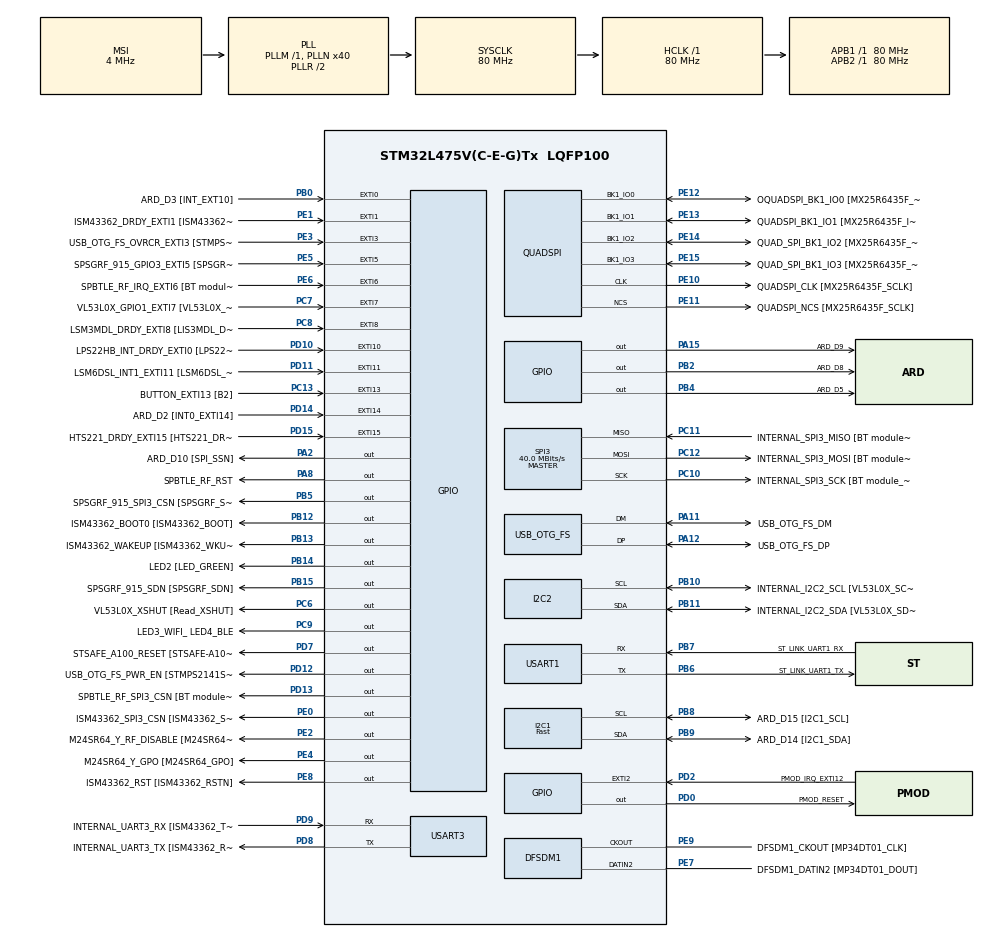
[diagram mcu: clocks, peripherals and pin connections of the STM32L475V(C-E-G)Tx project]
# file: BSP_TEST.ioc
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I2C1.I2C_Speed_Mode=I2C_Fast
I2C1.Timing=0x00702991
I2C2.Timing=0x10909CEC
Mcu.Family=STM32L4
Mcu.Name=STM32L475V(C-E-G)Tx
Mcu.Package=LQFP100
NVIC.EXTI15_10_IRQn=true\:0\:0\:false\:false\:true\:true\:true\:true
NVIC.EXTI1_IRQn=true\:0\:0\:false\:false\:true\:true\:true\:true
NVIC.EXTI9_5_IRQn=true\:0\:0\:false\:false\:true\:true\:true\:true
NVIC.PriorityGroup=NVIC_PRIORITYGROUP_4
PA0.GPIO_Label=ARD_D1 [UART4_TX]
PA0.Signal=UART4_TX
PA1.GPIO_Label=ARD_D0 [UART4_RX]
PA1.Signal=UART4_RX
PA10.GPIO_Label=USB_OTG_FS_ID
PA10.Signal=USB_OTG_FS_ID
PA11.GPIO_Label=USB_OTG_FS_DM
PA11.Mode=Device_Only
PA11.Signal=USB_OTG_FS_DM
PA12.GPIO_Label=USB_OTG_FS_DP
PA12.Mode=Device_Only
PA12.Signal=USB_OTG_FS_DP
PA13\ (JTMS-SWDIO).GPIO_Label=SYS_JTMS_SWDIO
PA13\ (JTMS-SWDIO).Mode=Serial_Wire
PA13\ (JTMS-SWDIO).Signal=SYS_JTMS-SWDIO
PA14\ (JTCK-SWCLK).GPIO_Label=SYS_JTCK_SWCLK
PA14\ (JTCK-SWCLK).Mode=Serial_Wire
PA14\ (JTCK-SWCLK).Signal=SYS_JTCK-SWCLK
PA15\ (JTDI).GPIO_Label=ARD_D9
PA15\ (JTDI).Signal=GPIO_Output
PA2.GPIO_Label=ARD_D10 [SPI_SSN]
PA2.Signal=GPIO_Output
PA3.GPIO_Label=ARD_D4
PA3.Signal=S_TIM2_CH4
PA4.GPIO_Label=ARD_D7
PA4.Signal=ADCx_IN9
PA5.GPIO_Label=ARD_D13 [SPI1_SCK]
PA5.Signal=SPI1_SCK
PA6.GPIO_Label=ARD_D12 [SPI1_MISO]
PA6.Signal=SPI1_MISO
PA7.GPIO_Label=ARD_D11 [SPI1_MOSI]
PA7.Signal=SPI1_MOSI
PA8.GPIO_Label=SPBTLE_RF_RST
PA8.Signal=GPIO_Output
PA9.GPIO_Label=USB_OTG_FS_VBUS [STMPS2141STR_OUT]
PA9.Signal=USB_OTG_FS_VBUS
PB0.GPIO_Label=ARD_D3 [INT_EXT10]
PB0.Signal=GPXTI0
PB1.GPIO_Label=ARD_D6 [ADC1_IN6]
PB1.Signal=ADCx_IN16
PB10.GPIO_Label=INTERNAL_I2C2_SCL [VL53L0X_SCL]
PB10.GPIO_Pu=GPIO_PULLUP
PB10.Mode=I2C
PB10.Signal=I2C2_SCL
PB11.GPIO_Label=INTERNAL_I2C2_SDA [VL53L0X_SDA]
PB11.GPIO_Pu=GPIO_PULLUP
PB11.Mode=I2C
PB11.Signal=I2C2_SDA
PB12.GPIO_Label=ISM43362_BOOT0 [ISM43362_BOOT]
PB12.Signal=GPIO_Output
PB13.GPIO_Label=ISM43362_WAKEUP [ISM43362_WKUP]
PB13.Signal=GPIO_Output
PB14.GPIO_Label=LED2 [LED_GREEN]
PB14.Signal=GPIO_Output
PB15.GPIO_Label=SPSGRF_915_SDN [SPSGRF_SDN]
PB15.Signal=GPIO_Output
PB2.GPIO_Label=ARD_D8
PB2.Signal=GPIO_Output
PB3\ (JTDO-TRACESWO).GPIO_Label=SYS_JTD0_SWO
PB3\ (JTDO-TRACESWO).Signal=SYS_JTDO-SWO
PB4\ (NJTRST).GPIO_Label=ARD_D5
PB4\ (NJTRST).Signal=GPIO_Output
PB5.GPIO_Label=SPSGRF_915_SPI3_CSN [SPSGRF_SPI_CS]
PB5.PinState=GPIO_PIN_SET
PB5.Signal=GPIO_Output
PB6.GPIO_Label=ST_LINK_UART1_TX
PB6.Mode=Asynchronous
PB6.Signal=USART1_TX
PB7.GPIO_Label=ST_LINK_UART1_RX
PB7.Mode=Asynchronous
PB7.Signal=USART1_RX
PB8.GPIO_Label=ARD_D15 [I2C1_SCL]
PB8.Mode=I2C
PB8.Signal=I2C1_SCL
PB9.GPIO_Label=ARD_D14 [I2C1_SDA]
PB9.Mode=I2C
PB9.Signal=I2C1_SDA
PC0.GPIO_Label=ARD_A5 [ADC]
PC0.Signal=ADCx_IN1
PC1.GPIO_Label=ARD_A4 [ADC]
PC1.Signal=ADCx_IN2
PC10.GPIO_Label=INTERNAL_SPI3_SCK [BT module_SPI_SCLK] [ISM43362_SCK]
PC10.Mode=Full_Duplex_Master
PC10.Signal=SPI3_SCK
PC11.GPIO_Label=INTERNAL_SPI3_MISO [BT module_SPI_MISO] [ISM43362_MISO]
PC11.Mode=Full_Duplex_Master
PC11.Signal=SPI3_MISO
PC12.GPIO_Label=INTERNAL_SPI3_MOSI [BT module_SPI_MOSI] [ISM43362_MOSI]
PC12.Mode=Full_Duplex_Master
PC12.Signal=SPI3_MOSI
PC13.GPIO_Label=BUTTON_EXTI13 [B2]
PC13.GPIO_ModeDefaultEXTI=GPIO_MODE_IT_FALLING
PC13.Signal=GPXTI13
PC14-OSC32_IN\ (PC14).Mode=LSE-External-Oscillator
PC14-OSC32_IN\ (PC14).Signal=RCC_OSC32_IN
PC15-OSC32_OUT\ (PC15).Mode=LSE-External-Oscillator
PC15-OSC32_OUT\ (PC15).Signal=RCC_OSC32_OUT
PC2.GPIO_Label=ARD_A3 [ADC]
PC2.Signal=ADCx_IN3
PC3.GPIO_Label=ARD_A2 [ADC]
PC3.Signal=ADCx_IN4
PC4.GPIO_Label=ARD_A1 [ADC]
PC4.Signal=ADCx_IN13
PC5.GPIO_Label=ARD_A0 [ADC]
PC5.Signal=ADCx_IN14
PC6.GPIO_Label=VL53L0X_XSHUT [Read_XSHUT]
PC6.Signal=GPIO_Output
PC7.GPIO_Label=VL53L0X_GPIO1_EXTI7 [VL53L0X_GPIO1]
PC7.Signal=GPXTI7
PC8.GPIO_Label=LSM3MDL_DRDY_EXTI8 [LIS3MDL_DRDY]
PC8.Signal=GPXTI8
PC9.GPIO_Label=LED3_WIFI_ LED4_BLE
PC9.Signal=GPIO_Output
PD0.GPIO_Label=PMOD_RESET
PD0.Signal=GPIO_Output
PD1.GPIO_Label=PMOD_SPI2_SCK
PD1.Signal=SPI2_SCK
PD10.GPIO_Label=LPS22HB_INT_DRDY_EXTI0 [LPS22HB_INT_DRDY] 
PD10.Signal=GPXTI10
PD11.GPIO_Label=LSM6DSL_INT1_EXTI11 [LSM6DSL_INT1]
PD11.Signal=GPXTI11
PD12.GPIO_Label=USB_OTG_FS_PWR_EN [STMPS2141STR_EN]
PD12.Signal=GPIO_Output
PD13.GPIO_Label=SPBTLE_RF_SPI3_CSN [BT module_SPI_CS]
PD13.PinState=GPIO_PIN_SET
PD13.Signal=GPIO_Output
PD14.GPIO_Label=ARD_D2 [INT0_EXTI14]
PD14.Signal=GPXTI14
PD15.GPIO_Label=HTS221_DRDY_EXTI15 [HTS221_DRDY]
PD15.Signal=GPXTI15
PD2.GPIO_Label=PMOD_IRQ_EXTI12
PD2.Signal=GPXTI2
PD3.GPIO_Label=PMOD_UART2_CTS
PD3.Signal=USART2_CTS
PD4.GPIO_Label=PMOD_UART2_RTS
PD4.Signal=USART2_RTS
PD5.GPIO_Label=PMOD_UART2_TX
PD5.Signal=USART2_TX
PD6.GPIO_Label=PMOD_UART2_RX
PD6.Signal=USART2_RX
PD7.GPIO_Label=STSAFE_A100_RESET [STSAFE-A100_RESET]
PD7.Signal=GPIO_Output
PD8.GPIO_Label=INTERNAL_UART3_TX [ISM43362_RX]
PD8.Mode=Asynchronous
PD8.Signal=USART3_TX
PD9.GPIO_Label=INTERNAL_UART3_RX [ISM43362_TX]
PD9.Mode=Asynchronous
PD9.Signal=USART3_RX
PE0.GPIO_Label=ISM43362_SPI3_CSN [ISM43362_SSN]
PE0.PinState=GPIO_PIN_SET
PE0.Signal=GPIO_Output
PE1.GPIO_Label=ISM43362_DRDY_EXTI1 [ISM43362_DATARDY]
PE1.Signal=GPXTI1
PE10.GPIO_Label=QUADSPI_CLK [MX25R6435F_SCLK]
PE10.Mode=Single Bank
PE10.Signal=QUADSPI_CLK
PE11.GPIO_Label=QUADSPI_NCS [MX25R6435F_SCLK]
PE11.Mode=Single Bank
PE11.Signal=QUADSPI_NCS
PE12.GPIO_Label=OQUADSPI_BK1_IO0 [MX25R6435F_IO0]
PE12.Mode=Single Bank
PE12.Signal=QUADSPI_BK1_IO0
PE13.GPIO_Label=QUADSPI_BK1_IO1 [MX25R6435F_IO1]
PE13.Mode=Single Bank
PE13.Signal=QUADSPI_BK1_IO1
PE14.GPIO_Label=QUAD_SPI_BK1_IO2 [MX25R6435F_IO2]
PE14.Mode=Single Bank
PE14.Signal=QUADSPI_BK1_IO2
PE15.GPIO_Label=QUAD_SPI_BK1_IO3 [MX25R6435F_IO3]
PE15.Mode=Single Bank
PE15.Signal=QUADSPI_BK1_IO3
PE2.GPIO_Label=M24SR64_Y_RF_DISABLE [M24SR64_RFDIS]
PE2.Signal=GPIO_Output
PE3.GPIO_Label=USB_OTG_FS_OVRCR_EXTI3 [STMPS2141STR_FAULT]
PE3.Signal=GPXTI3
PE4.GPIO_Label=M24SR64_Y_GPO [M24SR64_GPO]
PE4.Signal=GPIO_Output
PE5.GPIO_Label=SPSGRF_915_GPIO3_EXTI5 [SPSGRF_GPIO_3]
PE5.Signal=GPXTI5
PE6.GPIO_Label=SPBTLE_RF_IRQ_EXTI6 [BT module_SPI_IRQ]
PE6.Signal=GPXTI6
PE7.GPIO_Label=DFSDM1_DATIN2 [MP34DT01_DOUT]
PE7.Signal=S_DATAIN2DFSDM1
PE8.GPIO_Label=ISM43362_RST [ISM43362_RSTN]
PE8.Signal=GPIO_Output
PE9.GPIO_Label=DFSDM1_CKOUT [MP34DT01_CLK]
PE9.Signal=S_CKOUTDFSDM1
ProjectManager.HeapSize=0x200
ProjectManager.StackSize=0x400
ProjectManager.TargetToolchain=STM32CubeIDE
QUADSPI.ClockPrescaler=2
QUADSPI.FifoThreshold=4
QUADSPI.FlashSize=23
QUADSPI.SampleShifting=QSPI_SAMPLE_SHIFTING_HALFCYCLE
RCC.ADCFreq_Value=48000000
RCC.AHBFreq_Value=80000000
RCC.APB1Freq_Value=80000000
RCC.APB1TimFreq_Value=80000000
RCC.APB2Freq_Value=80000000
RCC.APB2TimFreq_Value=80000000
RCC.CortexFreq_Value=80000000
RCC.HCLKFreq_Value=80000000
RCC.HSE_VALUE=8000000
RCC.HSI_VALUE=16000000
RCC.MSI_VALUE=4000000
RCC.PLLN=40
RCC.PLLSAI1N=24
RCC.SYSCLKFreq_VALUE=80000000
RCC.SYSCLKSource=RCC_SYSCLKSOURCE_PLLCLK
RCC.USBFreq_Value=48000000
RCC.VCOOutputFreq_Value=160000000
SH.ADCx_IN1.0=ADC1_IN1
SH.ADCx_IN13.0=ADC1_IN13
SH.ADCx_IN14.0=ADC1_IN14
SH.ADCx_IN16.0=ADC1_IN16
SH.ADCx_IN2.0=ADC1_IN2
SH.ADCx_IN3.0=ADC1_IN3
SH.ADCx_IN4.0=ADC1_IN4
SH.ADCx_IN9.0=ADC1_IN9
SH.S_CKOUTDFSDM1.0=DFSDM1_CKOUT,CKOUT
SH.S_CKOUTDFSDM1.1=DFSDM1_CKOUT,PDM_SPI_Input_from_ch12_and_Internal_Clock
SH.S_DATAIN2DFSDM1.0=DFSDM1_DATIN2,PDM_SPI_Input_from_ch12_and_Internal_Clock
SH.S_TIM2_CH4.0=TIM2_CH4
SPI3.CalculateBaudRate=40.0 MBits/s
SPI3.DataSize=SPI_DATASIZE_8BIT
SPI3.Direction=SPI_DIRECTION_2LINES
SPI3.Mode=SPI_MODE_MASTER
SPI3.VirtualType=VM_MASTER
USART1.VirtualMode-Asynchronous=VM_ASYNC
USART3.VirtualMode-Asynchronous=VM_ASYNC
USB_OTG_FS.VirtualMode=Device_Only
board=B-L475E-IOT01A2

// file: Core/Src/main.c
/* USER CODE BEGIN Header */
/**
  ******************************************************************************
  * @file           : main.c
  * @brief          : Main program body
  ******************************************************************************
  * @attention
  *
  * Copyright (c) 2023 STMicroelectronics.
  * All rights reserved.
  *
  * This software is licensed under terms that can be found in the LICENSE file
  * in the root directory of this software component.
  * If no LICENSE file comes with this software, it is provided AS-IS.
  *
  ******************************************************************************
  */
/* USER CODE END Header */
#include "main.h"

/* USER CODE BEGIN Includes */
#include "stdio.h"
#include "stm32l475e_iot01_hsensor.h"
#include "string.h"
#include "wifi.h"
#include "config.h"
#include "sensor.h"

/* USER CODE END Includes */

/* USER CODE BEGIN PD */
#define PUTCHAR_PROTOTYPE int __io_putchar(int ch)

/* USER CODE END PD */

/* USER CODE BEGIN PM */

void system_status(uint8_t *pDataXYZ,float *pGyroDataXYZ,float *temp_value, float *humidity_value, uint32_t *lux);

int wifi_init_re; //wifi init status flag
/* USER CODE END PM */

DFSDM_Channel_HandleTypeDef hdfsdm1_channel1;

I2C_HandleTypeDef hi2c1;
I2C_HandleTypeDef hi2c2;

QSPI_HandleTypeDef hqspi;

SPI_HandleTypeDef hspi3;

UART_HandleTypeDef huart1;
UART_HandleTypeDef huart3;

PCD_HandleTypeDef hpcd_USB_OTG_FS;

void SystemClock_Config(void);
static void MX_GPIO_Init(void);
static void MX_DFSDM1_Init(void);
static void MX_I2C2_Init(void);
static void MX_QUADSPI_Init(void);
static void MX_SPI3_Init(void);
static void MX_USART1_UART_Init(void);
static void MX_USART3_UART_Init(void);
static void MX_USB_OTG_FS_PCD_Init(void);
static void MX_I2C1_Init(void);

/* USER CODE BEGIN 0 */
PUTCHAR_PROTOTYPE
{
   HAL_UART_Transmit(&huart1, (uint8_t *)&ch, 1, 0xFFFF);

   return ch;
}

/* USER CODE END 0 */

int main(void)
{
  /* USER CODE BEGIN 1 */
  float humidity_value = 0;
  float temp_value = 0;
  float pGyroDataXYZ[3] = {0};
  uint8_t pDataXYZ[3] = {0};
  uint32_t lux = 0;									//Lux trasns data (1.2)
  uint8_t rData[2];									//Lux LSB / MSB data
  /* USER CODE END 1 */

  /* MCU Configuration--------------------------------------------------------*/

  /* Reset of all peripherals, Initializes the Flash interface and the Systick. */
  HAL_Init();

  /* Configure the system clock */
  SystemClock_Config();

  /* Initialize all configured peripherals */
  MX_GPIO_Init();
  MX_DFSDM1_Init();
  MX_I2C2_Init();
  MX_QUADSPI_Init();
  MX_SPI3_Init();
  MX_USART1_UART_Init();
  MX_USART3_UART_Init();
  MX_USB_OTG_FS_PCD_Init();
  MX_I2C1_Init();
  /* USER CODE BEGIN 2 */
  while(BSP_Sensor_Init() != HAL_OK)
  {
	  Error_Handler();
  }
  printf("\r\nBSP init complete\r\n");
  printf("booting wifi %d\r", wifi_init_re);

  while(WIFI_Init() != HAL_OK)
  {
	  Error_Handler();
  }
  printf("\r\nwifi init complete\r\n");
  printf("\r\nstart wifi\r\n");

  startWifi();

  /* USER CODE END 2 */

  /* Infinite loop */
  while (1)
  {

    /* USER CODE BEGIN 3 */
	  HTS221_sensor(&temp_value, &humidity_value);
	  Accelero_sensor(&pDataXYZ);
	  VEML7700_sensor(&lux, &rData);
	  GYRO_sensor(&pGyroDataXYZ);
	  convert_json(&pDataXYZ,&pGyroDataXYZ,&temp_value,&humidity_value,&lux);
	  system_status(&pDataXYZ,&pGyroDataXYZ,&temp_value,&humidity_value,&lux);
	  sendData();
	  HAL_Delay(700);
  }
  /* USER CODE END 3 */
}

void SystemClock_Config(void)
{
  RCC_OscInitTypeDef RCC_OscInitStruct = {0};
  RCC_ClkInitTypeDef RCC_ClkInitStruct = {0};

  /** Configure the main internal regulator output voltage
  */
  if (HAL_PWREx_ControlVoltageScaling(PWR_REGULATOR_VOLTAGE_SCALE1) != HAL_OK)
  {
    Error_Handler();
  }

  /** Configure LSE Drive Capability
  */
  HAL_PWR_EnableBkUpAccess();
  __HAL_RCC_LSEDRIVE_CONFIG(RCC_LSEDRIVE_LOW);

  /** Initializes the RCC Oscillators according to the specified parameters
  * in the RCC_OscInitTypeDef structure.
  */
  RCC_OscInitStruct.OscillatorType = RCC_OSCILLATORTYPE_LSE|RCC_OSCILLATORTYPE_MSI;
  RCC_OscInitStruct.LSEState = RCC_LSE_ON;
  RCC_OscInitStruct.MSIState = RCC_MSI_ON;
  RCC_OscInitStruct.MSICalibrationValue = 0;
  RCC_OscInitStruct.MSIClockRange = RCC_MSIRANGE_6;
  RCC_OscInitStruct.PLL.PLLState = RCC_PLL_ON;
  RCC_OscInitStruct.PLL.PLLSource = RCC_PLLSOURCE_MSI;
  RCC_OscInitStruct.PLL.PLLM = 1;
  RCC_OscInitStruct.PLL.PLLN = 40;
  RCC_OscInitStruct.PLL.PLLP = RCC_PLLP_DIV7;
  RCC_OscInitStruct.PLL.PLLQ = RCC_PLLQ_DIV2;
  RCC_OscInitStruct.PLL.PLLR = RCC_PLLR_DIV2;
  if (HAL_RCC_OscConfig(&RCC_OscInitStruct) != HAL_OK)
  {
    Error_Handler();
  }

  /** Initializes the CPU, AHB and APB buses clocks
  */
  RCC_ClkInitStruct.ClockType = RCC_CLOCKTYPE_HCLK|RCC_CLOCKTYPE_SYSCLK
                              |RCC_CLOCKTYPE_PCLK1|RCC_CLOCKTYPE_PCLK2;
  RCC_ClkInitStruct.SYSCLKSource = RCC_SYSCLKSOURCE_PLLCLK;
  RCC_ClkInitStruct.AHBCLKDivider = RCC_SYSCLK_DIV1;
  RCC_ClkInitStruct.APB1CLKDivider = RCC_HCLK_DIV1;
  RCC_ClkInitStruct.APB2CLKDivider = RCC_HCLK_DIV1;

  if (HAL_RCC_ClockConfig(&RCC_ClkInitStruct, FLASH_LATENCY_4) != HAL_OK)
  {
    Error_Handler();
  }

  /** Enable MSI Auto calibration
  */
  HAL_RCCEx_EnableMSIPLLMode();
}

static void MX_DFSDM1_Init(void)
{

  hdfsdm1_channel1.Instance = DFSDM1_Channel1;
  hdfsdm1_channel1.Init.OutputClock.Activation = ENABLE;
  hdfsdm1_channel1.Init.OutputClock.Selection = DFSDM_CHANNEL_OUTPUT_CLOCK_SYSTEM;
  hdfsdm1_channel1.Init.OutputClock.Divider = 2;
  hdfsdm1_channel1.Init.Input.Multiplexer = DFSDM_CHANNEL_EXTERNAL_INPUTS;
  hdfsdm1_channel1.Init.Input.DataPacking = DFSDM_CHANNEL_STANDARD_MODE;
  hdfsdm1_channel1.Init.Input.Pins = DFSDM_CHANNEL_FOLLOWING_CHANNEL_PINS;
  hdfsdm1_channel1.Init.SerialInterface.Type = DFSDM_CHANNEL_SPI_RISING;
  hdfsdm1_channel1.Init.SerialInterface.SpiClock = DFSDM_CHANNEL_SPI_CLOCK_INTERNAL;
  hdfsdm1_channel1.Init.Awd.FilterOrder = DFSDM_CHANNEL_FASTSINC_ORDER;
  hdfsdm1_channel1.Init.Awd.Oversampling = 1;
  hdfsdm1_channel1.Init.Offset = 0;
  hdfsdm1_channel1.Init.RightBitShift = 0x00;
  if (HAL_DFSDM_ChannelInit(&hdfsdm1_channel1) != HAL_OK)
  {
    Error_Handler();
  }

}

static void MX_I2C1_Init(void)
{

  hi2c1.Instance = I2C1;
  hi2c1.Init.Timing = 0x00702991;
  hi2c1.Init.OwnAddress1 = 0;
  hi2c1.Init.AddressingMode = I2C_ADDRESSINGMODE_7BIT;
  hi2c1.Init.DualAddressMode = I2C_DUALADDRESS_DISABLE;
  hi2c1.Init.OwnAddress2 = 0;
  hi2c1.Init.OwnAddress2Masks = I2C_OA2_NOMASK;
  hi2c1.Init.GeneralCallMode = I2C_GENERALCALL_DISABLE;
  hi2c1.Init.NoStretchMode = I2C_NOSTRETCH_DISABLE;
  if (HAL_I2C_Init(&hi2c1) != HAL_OK)
  {
    Error_Handler();
  }

  /** Configure Analogue filter
  */
  if (HAL_I2CEx_ConfigAnalogFilter(&hi2c1, I2C_ANALOGFILTER_ENABLE) != HAL_OK)
  {
    Error_Handler();
  }

  /** Configure Digital filter
  */
  if (HAL_I2CEx_ConfigDigitalFilter(&hi2c1, 0) != HAL_OK)
  {
    Error_Handler();
  }

}

static void MX_I2C2_Init(void)
{

  hi2c2.Instance = I2C2;
  hi2c2.Init.Timing = 0x10909CEC;
  hi2c2.Init.OwnAddress1 = 0;
  hi2c2.Init.AddressingMode = I2C_ADDRESSINGMODE_7BIT;
  hi2c2.Init.DualAddressMode = I2C_DUALADDRESS_DISABLE;
  hi2c2.Init.OwnAddress2 = 0;
  hi2c2.Init.OwnAddress2Masks = I2C_OA2_NOMASK;
  hi2c2.Init.GeneralCallMode = I2C_GENERALCALL_DISABLE;
  hi2c2.Init.NoStretchMode = I2C_NOSTRETCH_DISABLE;
  if (HAL_I2C_Init(&hi2c2) != HAL_OK)
  {
    Error_Handler();
  }

  /** Configure Analogue filter
  */
  if (HAL_I2CEx_ConfigAnalogFilter(&hi2c2, I2C_ANALOGFILTER_ENABLE) != HAL_OK)
  {
    Error_Handler();
  }

  /** Configure Digital filter
  */
  if (HAL_I2CEx_ConfigDigitalFilter(&hi2c2, 0) != HAL_OK)
  {
    Error_Handler();
  }

}

static void MX_QUADSPI_Init(void)
{

  /* QUADSPI parameter configuration*/
  hqspi.Instance = QUADSPI;
  hqspi.Init.ClockPrescaler = 2;
  hqspi.Init.FifoThreshold = 4;
  hqspi.Init.SampleShifting = QSPI_SAMPLE_SHIFTING_HALFCYCLE;
  hqspi.Init.FlashSize = 23;
  hqspi.Init.ChipSelectHighTime = QSPI_CS_HIGH_TIME_1_CYCLE;
  hqspi.Init.ClockMode = QSPI_CLOCK_MODE_0;
  if (HAL_QSPI_Init(&hqspi) != HAL_OK)
  {
    Error_Handler();
  }

}

static void MX_SPI3_Init(void)
{

  /* SPI3 parameter configuration*/
  hspi3.Instance = SPI3;
  hspi3.Init.Mode = SPI_MODE_MASTER;
  hspi3.Init.Direction = SPI_DIRECTION_2LINES;
  hspi3.Init.DataSize = SPI_DATASIZE_8BIT;
  hspi3.Init.CLKPolarity = SPI_POLARITY_LOW;
  hspi3.Init.CLKPhase = SPI_PHASE_1EDGE;
  hspi3.Init.NSS = SPI_NSS_SOFT;
  hspi3.Init.BaudRatePrescaler = SPI_BAUDRATEPRESCALER_2;
  hspi3.Init.FirstBit = SPI_FIRSTBIT_MSB;
  hspi3.Init.TIMode = SPI_TIMODE_DISABLE;
  hspi3.Init.CRCCalculation = SPI_CRCCALCULATION_DISABLE;
  hspi3.Init.CRCPolynomial = 7;
  hspi3.Init.CRCLength = SPI_CRC_LENGTH_DATASIZE;
  hspi3.Init.NSSPMode = SPI_NSS_PULSE_ENABLE;
  if (HAL_SPI_Init(&hspi3) != HAL_OK)
  {
    Error_Handler();
  }

}

static void MX_USART1_UART_Init(void)
{

  huart1.Instance = USART1;
  huart1.Init.BaudRate = 115200;
  huart1.Init.WordLength = UART_WORDLENGTH_8B;
  huart1.Init.StopBits = UART_STOPBITS_1;
  huart1.Init.Parity = UART_PARITY_NONE;
  huart1.Init.Mode = UART_MODE_TX_RX;
  huart1.Init.HwFlowCtl = UART_HWCONTROL_NONE;
  huart1.Init.OverSampling = UART_OVERSAMPLING_16;
  huart1.Init.OneBitSampling = UART_ONE_BIT_SAMPLE_DISABLE;
  huart1.AdvancedInit.AdvFeatureInit = UART_ADVFEATURE_NO_INIT;
  if (HAL_UART_Init(&huart1) != HAL_OK)
  {
    Error_Handler();
  }

}

static void MX_USART3_UART_Init(void)
{

  huart3.Instance = USART3;
  huart3.Init.BaudRate = 115200;
  huart3.Init.WordLength = UART_WORDLENGTH_8B;
  huart3.Init.StopBits = UART_STOPBITS_1;
  huart3.Init.Parity = UART_PARITY_NONE;
  huart3.Init.Mode = UART_MODE_TX_RX;
  huart3.Init.HwFlowCtl = UART_HWCONTROL_NONE;
  huart3.Init.OverSampling = UART_OVERSAMPLING_16;
  huart3.Init.OneBitSampling = UART_ONE_BIT_SAMPLE_DISABLE;
  huart3.AdvancedInit.AdvFeatureInit = UART_ADVFEATURE_NO_INIT;
  if (HAL_UART_Init(&huart3) != HAL_OK)
  {
    Error_Handler();
  }

}

static void MX_USB_OTG_FS_PCD_Init(void)
{

  hpcd_USB_OTG_FS.Instance = USB_OTG_FS;
  hpcd_USB_OTG_FS.Init.dev_endpoints = 6;
  hpcd_USB_OTG_FS.Init.speed = PCD_SPEED_FULL;
  hpcd_USB_OTG_FS.Init.phy_itface = PCD_PHY_EMBEDDED;
  hpcd_USB_OTG_FS.Init.Sof_enable = DISABLE;
  hpcd_USB_OTG_FS.Init.low_power_enable = DISABLE;
  hpcd_USB_OTG_FS.Init.lpm_enable = DISABLE;
  hpcd_USB_OTG_FS.Init.battery_charging_enable = DISABLE;
  hpcd_USB_OTG_FS.Init.use_dedicated_ep1 = DISABLE;
  hpcd_USB_OTG_FS.Init.vbus_sensing_enable = DISABLE;
  if (HAL_PCD_Init(&hpcd_USB_OTG_FS) != HAL_OK)
  {
    Error_Handler();
  }

}

static void MX_GPIO_Init(void)
{
  GPIO_InitTypeDef GPIO_InitStruct = {0};

  /* GPIO Ports Clock Enable */
  __HAL_RCC_GPIOE_CLK_ENABLE();
  __HAL_RCC_GPIOC_CLK_ENABLE();
  __HAL_RCC_GPIOA_CLK_ENABLE();
  __HAL_RCC_GPIOB_CLK_ENABLE();
  __HAL_RCC_GPIOD_CLK_ENABLE();

  /*Configure GPIO pin Output Level */
  HAL_GPIO_WritePin(GPIOE, M24SR64_Y_RF_DISABLE_Pin|M24SR64_Y_GPO_Pin|ISM43362_RST_Pin, GPIO_PIN_RESET);

  /*Configure GPIO pin Output Level */
  HAL_GPIO_WritePin(GPIOA, ARD_D10_Pin|SPBTLE_RF_RST_Pin|ARD_D9_Pin, GPIO_PIN_RESET);

  /*Configure GPIO pin Output Level */
  HAL_GPIO_WritePin(GPIOB, ARD_D8_Pin|ISM43362_BOOT0_Pin|ISM43362_WAKEUP_Pin|LED2_Pin
                          |SPSGRF_915_SDN_Pin|ARD_D5_Pin, GPIO_PIN_RESET);

  /*Configure GPIO pin Output Level */
  HAL_GPIO_WritePin(GPIOD, USB_OTG_FS_PWR_EN_Pin|PMOD_RESET_Pin|STSAFE_A100_RESET_Pin, GPIO_PIN_RESET);

  /*Configure GPIO pin Output Level */
  HAL_GPIO_WritePin(SPBTLE_RF_SPI3_CSN_GPIO_Port, SPBTLE_RF_SPI3_CSN_Pin, GPIO_PIN_SET);

  /*Configure GPIO pin Output Level */
  HAL_GPIO_WritePin(GPIOC, VL53L0X_XSHUT_Pin|LED3_WIFI__LED4_BLE_Pin, GPIO_PIN_RESET);

  /*Configure GPIO pin Output Level */
  HAL_GPIO_WritePin(SPSGRF_915_SPI3_CSN_GPIO_Port, SPSGRF_915_SPI3_CSN_Pin, GPIO_PIN_SET);

  /*Configure GPIO pin Output Level */
  HAL_GPIO_WritePin(ISM43362_SPI3_CSN_GPIO_Port, ISM43362_SPI3_CSN_Pin, GPIO_PIN_SET);

  /*Configure GPIO pins : M24SR64_Y_RF_DISABLE_Pin M24SR64_Y_GPO_Pin ISM43362_RST_Pin ISM43362_SPI3_CSN_Pin */
  GPIO_InitStruct.Pin = M24SR64_Y_RF_DISABLE_Pin|M24SR64_Y_GPO_Pin|ISM43362_RST_Pin|ISM43362_SPI3_CSN_Pin;
  GPIO_InitStruct.Mode = GPIO_MODE_OUTPUT_PP;
  GPIO_InitStruct.Pull = GPIO_NOPULL;
  GPIO_InitStruct.Speed = GPIO_SPEED_FREQ_LOW;
  HAL_GPIO_Init(GPIOE, &GPIO_InitStruct);

  /*Configure GPIO pins : USB_OTG_FS_OVRCR_EXTI3_Pin SPSGRF_915_GPIO3_EXTI5_Pin SPBTLE_RF_IRQ_EXTI6_Pin ISM43362_DRDY_EXTI1_Pin */
  GPIO_InitStruct.Pin = USB_OTG_FS_OVRCR_EXTI3_Pin|SPSGRF_915_GPIO3_EXTI5_Pin|SPBTLE_RF_IRQ_EXTI6_Pin|ISM43362_DRDY_EXTI1_Pin;
  GPIO_InitStruct.Mode = GPIO_MODE_IT_RISING;
  GPIO_InitStruct.Pull = GPIO_NOPULL;
  HAL_GPIO_Init(GPIOE, &GPIO_InitStruct);

  /*Configure GPIO pin : BUTTON_EXTI13_Pin */
  GPIO_InitStruct.Pin = BUTTON_EXTI13_Pin;
  GPIO_InitStruct.Mode = GPIO_MODE_IT_FALLING;
  GPIO_InitStruct.Pull = GPIO_NOPULL;
  HAL_GPIO_Init(BUTTON_EXTI13_GPIO_Port, &GPIO_InitStruct);

  /*Configure GPIO pins : ARD_A5_Pin ARD_A4_Pin ARD_A3_Pin ARD_A2_Pin
                           ARD_A1_Pin ARD_A0_Pin */
  GPIO_InitStruct.Pin = ARD_A5_Pin|ARD_A4_Pin|ARD_A3_Pin|ARD_A2_Pin
                          |ARD_A1_Pin|ARD_A0_Pin;
  GPIO_InitStruct.Mode = GPIO_MODE_ANALOG_ADC_CONTROL;
  GPIO_InitStruct.Pull = GPIO_NOPULL;
  HAL_GPIO_Init(GPIOC, &GPIO_InitStruct);

  /*Configure GPIO pins : ARD_D1_Pin ARD_D0_Pin */
  GPIO_InitStruct.Pin = ARD_D1_Pin|ARD_D0_Pin;
  GPIO_InitStruct.Mode = GPIO_MODE_AF_PP;
  GPIO_InitStruct.Pull = GPIO_NOPULL;
  GPIO_InitStruct.Speed = GPIO_SPEED_FREQ_VERY_HIGH;
  GPIO_InitStruct.Alternate = GPIO_AF8_UART4;
  HAL_GPIO_Init(GPIOA, &GPIO_InitStruct);

  /*Configure GPIO pins : ARD_D10_Pin SPBTLE_RF_RST_Pin ARD_D9_Pin */
  GPIO_InitStruct.Pin = ARD_D10_Pin|SPBTLE_RF_RST_Pin|ARD_D9_Pin;
  GPIO_InitStruct.Mode = GPIO_MODE_OUTPUT_PP;
  GPIO_InitStruct.Pull = GPIO_NOPULL;
  GPIO_InitStruct.Speed = GPIO_SPEED_FREQ_LOW;
  HAL_GPIO_Init(GPIOA, &GPIO_InitStruct);

  /*Configure GPIO pin : ARD_D4_Pin */
  GPIO_InitStruct.Pin = ARD_D4_Pin;
  GPIO_InitStruct.Mode = GPIO_MODE_AF_PP;
  GPIO_InitStruct.Pull = GPIO_NOPULL;
  GPIO_InitStruct.Speed = GPIO_SPEED_FREQ_LOW;
  GPIO_InitStruct.Alternate = GPIO_AF1_TIM2;
  HAL_GPIO_Init(ARD_D4_GPIO_Port, &GPIO_InitStruct);

  /*Configure GPIO pin : ARD_D7_Pin */
  GPIO_InitStruct.Pin = ARD_D7_Pin;
  GPIO_InitStruct.Mode = GPIO_MODE_ANALOG_ADC_CONTROL;
  GPIO_InitStruct.Pull = GPIO_NOPULL;
  HAL_GPIO_Init(ARD_D7_GPIO_Port, &GPIO_InitStruct);

  /*Configure GPIO pins : ARD_D13_Pin ARD_D12_Pin ARD_D11_Pin */
  GPIO_InitStruct.Pin = ARD_D13_Pin|ARD_D12_Pin|ARD_D11_Pin;
  GPIO_InitStruct.Mode = GPIO_MODE_AF_PP;
  GPIO_InitStruct.Pull = GPIO_NOPULL;
  GPIO_InitStruct.Speed = GPIO_SPEED_FREQ_VERY_HIGH;
  GPIO_InitStruct.Alternate = GPIO_AF5_SPI1;
  HAL_GPIO_Init(GPIOA, &GPIO_InitStruct);

  /*Configure GPIO pin : ARD_D3_Pin */
  GPIO_InitStruct.Pin = ARD_D3_Pin;
  GPIO_InitStruct.Mode = GPIO_MODE_IT_RISING;
  GPIO_InitStruct.Pull = GPIO_NOPULL;
  HAL_GPIO_Init(ARD_D3_GPIO_Port, &GPIO_InitStruct);

  /*Configure GPIO pin : ARD_D6_Pin */
  GPIO_InitStruct.Pin = ARD_D6_Pin;
  GPIO_InitStruct.Mode = GPIO_MODE_ANALOG_ADC_CONTROL;
  GPIO_InitStruct.Pull = GPIO_NOPULL;
  HAL_GPIO_Init(ARD_D6_GPIO_Port, &GPIO_InitStruct);

  /*Configure GPIO pins : ARD_D8_Pin ISM43362_BOOT0_Pin ISM43362_WAKEUP_Pin LED2_Pin
                           SPSGRF_915_SDN_Pin ARD_D5_Pin SPSGRF_915_SPI3_CSN_Pin */
  GPIO_InitStruct.Pin = ARD_D8_Pin|ISM43362_BOOT0_Pin|ISM43362_WAKEUP_Pin|LED2_Pin
                          |SPSGRF_915_SDN_Pin|ARD_D5_Pin|SPSGRF_915_SPI3_CSN_Pin;
  GPIO_InitStruct.Mode = GPIO_MODE_OUTPUT_PP;
  GPIO_InitStruct.Pull = GPIO_NOPULL;
  GPIO_InitStruct.Speed = GPIO_SPEED_FREQ_LOW;
  HAL_GPIO_Init(GPIOB, &GPIO_InitStruct);

  /*Configure GPIO pins : LPS22HB_INT_DRDY_EXTI0_Pin LSM6DSL_INT1_EXTI11_Pin ARD_D2_Pin HTS221_DRDY_EXTI15_Pin
                           PMOD_IRQ_EXTI12_Pin */
  GPIO_InitStruct.Pin = LPS22HB_INT_DRDY_EXTI0_Pin|LSM6DSL_INT1_EXTI11_Pin|ARD_D2_Pin|HTS221_DRDY_EXTI15_Pin
                          |PMOD_IRQ_EXTI12_Pin;
  GPIO_InitStruct.Mode = GPIO_MODE_IT_RISING;
  GPIO_InitStruct.Pull = GPIO_NOPULL;
  HAL_GPIO_Init(GPIOD, &GPIO_InitStruct);

  /*Configure GPIO pins : USB_OTG_FS_PWR_EN_Pin SPBTLE_RF_SPI3_CSN_Pin PMOD_RESET_Pin STSAFE_A100_RESET_Pin */
  GPIO_InitStruct.Pin = USB_OTG_FS_PWR_EN_Pin|SPBTLE_RF_SPI3_CSN_Pin|PMOD_RESET_Pin|STSAFE_A100_RESET_Pin;
  GPIO_InitStruct.Mode = GPIO_MODE_OUTPUT_PP;
  GPIO_InitStruct.Pull = GPIO_NOPULL;
  GPIO_InitStruct.Speed = GPIO_SPEED_FREQ_LOW;
  HAL_GPIO_Init(GPIOD, &GPIO_InitStruct);

  /*Configure GPIO pins : VL53L0X_XSHUT_Pin LED3_WIFI__LED4_BLE_Pin */
  GPIO_InitStruct.Pin = VL53L0X_XSHUT_Pin|LED3_WIFI__LED4_BLE_Pin;
  GPIO_InitStruct.Mode = GPIO_MODE_OUTPUT_PP;
  GPIO_InitStruct.Pull = GPIO_NOPULL;
  GPIO_InitStruct.Speed = GPIO_SPEED_FREQ_LOW;
  HAL_GPIO_Init(GPIOC, &GPIO_InitStruct);

  /*Configure GPIO pins : VL53L0X_GPIO1_EXTI7_Pin LSM3MDL_DRDY_EXTI8_Pin */
  GPIO_InitStruct.Pin = VL53L0X_GPIO1_EXTI7_Pin|LSM3MDL_DRDY_EXTI8_Pin;
  GPIO_InitStruct.Mode = GPIO_MODE_IT_RISING;
  GPIO_InitStruct.Pull = GPIO_NOPULL;
  HAL_GPIO_Init(GPIOC, &GPIO_InitStruct);

  /*Configure GPIO pin : PMOD_SPI2_SCK_Pin */
  GPIO_InitStruct.Pin = PMOD_SPI2_SCK_Pin;
  GPIO_InitStruct.Mode = GPIO_MODE_AF_PP;
  GPIO_InitStruct.Pull = GPIO_NOPULL;
  GPIO_InitStruct.Speed = GPIO_SPEED_FREQ_VERY_HIGH;
  GPIO_InitStruct.Alternate = GPIO_AF5_SPI2;
  HAL_GPIO_Init(PMOD_SPI2_SCK_GPIO_Port, &GPIO_InitStruct);

  /*Configure GPIO pins : PMOD_UART2_CTS_Pin PMOD_UART2_RTS_Pin PMOD_UART2_TX_Pin PMOD_UART2_RX_Pin */
  GPIO_InitStruct.Pin = PMOD_UART2_CTS_Pin|PMOD_UART2_RTS_Pin|PMOD_UART2_TX_Pin|PMOD_UART2_RX_Pin;
  GPIO_InitStruct.Mode = GPIO_MODE_AF_PP;
  GPIO_InitStruct.Pull = GPIO_NOPULL;
  GPIO_InitStruct.Speed = GPIO_SPEED_FREQ_VERY_HIGH;
  GPIO_InitStruct.Alternate = GPIO_AF7_USART2;
  HAL_GPIO_Init(GPIOD, &GPIO_InitStruct);

  /* EXTI interrupt init*/
  HAL_NVIC_SetPriority(EXTI1_IRQn, 0, 0);
  HAL_NVIC_EnableIRQ(EXTI1_IRQn);

  HAL_NVIC_SetPriority(EXTI9_5_IRQn, 0, 0);
  HAL_NVIC_EnableIRQ(EXTI9_5_IRQn);

  HAL_NVIC_SetPriority(EXTI15_10_IRQn, 0, 0);
  HAL_NVIC_EnableIRQ(EXTI15_10_IRQn);

}

/* USER CODE BEGIN 4 */

/*uint8_t BSP_Sensor_Init()
{
	BSP_TSENSOR_Init();								//BSP Init
	BSP_HSENSOR_Init();								//BSP Init
	BSP_GYRO_Init();									//Gyro sensor Init
	HTS221_H_Init((uint16_t)HTS221_DEVICE_ID);			//Temp sensor Init
	HTS221_T_Init((uint16_t)HTS221_DEVICE_ID, &gTemp);	//Humi sensor Init
	BSP_ACCELERO_Init();								//Accelero Init
	VEML7700_Init();
	return HAL_OK;
} */

/*uint8_t WIFI_Init()
{
	HAL_GPIO_WritePin(GPIOE,GPIO_PIN_8,GPIO_PIN_RESET);
	HAL_Delay(1000);
	HAL_GPIO_WritePin(GPIOE,GPIO_PIN_8,GPIO_PIN_SET);  // wifi module reset
	do{
	   wifi_init_re=getWifiModuleReady();
	   printf("booting wifi %d\r", wifi_init_re);
	}while(!wifi_init_re);

	return HAL_OK;
} */

/*void VEML7700_Init()
{
	uint8_t inita[2];
	inita[0] = 0b00000000; //  (LSB)
	inita[1] = 0b00010011; //  (MSB)
	HAL_I2C_Mem_Write(&hi2c1, VEML7700_ADDR, VEML7700_ALS_CONFIG, 1, (uint8_t*)inita, 2, 0xFFFF);
	// setting veml init setting : power on , gain 1/8 , intergration 100ms , power saving off , no interrupt
}*/

/*uint8_t Accelero_sensor(uint8_t *pDataXYZ)
{
	BSP_ACCELERO_AccGetXYZ(pDataXYZ);
	return pDataXYZ;
}

float HTS221_sensor(float *temp_value, float *humidity_value)
{
    *temp_value = HTS221_T_ReadTemp((uint16_t)HTS221_DEVICE_ID);
    *humidity_value = HTS221_H_ReadHumidity((uint16_t)HTS221_DEVICE_ID);
	return *temp_value, *humidity_value;
}*/

/*int VEML7700_sensor(uint32_t *lux, uint8_t *rData)

{
	uint16_t temp[2] = {0};
	uint16_t outtemp;
	HAL_I2C_Mem_Read(&hi2c1, VEML7700_ADDR, VEML7700_ALS_DATA, 1, rData, 2, 0xFFFF);  //VEML Memory read ALS Data
	for(uint8_t i = 0; i<2; i++)
	{
		temp[i] = rData[i];
	}
	outtemp = (temp[1]<<8)|temp[0];
	*lux = (uint32_t)(outtemp * 1.8432);//lux data trasform

	return *lux;
}*/

/*void GYRO_sensor(float *pGyroDataXYZ)
{
	BSP_GYRO_GetXYZ(pGyroDataXYZ);
}*/

void system_status(uint8_t *pDataXYZ,float *pGyroDataXYZ,float *temp_value, float *humidity_value, uint32_t *lux)
{
	printf("\r\nACCELERO_X = %d", pDataXYZ[0]);
	printf("\r\nACCELERO_Y = %d", pDataXYZ[1]);
	printf("\r\nACCELERO_Z = %d\r\n", pDataXYZ[2]);
	printf("\r\nTEMPERATURE is = %.2f °C", *temp_value);
	printf("\r\nHUMIDITY is = %.2f %%\r\n", *humidity_value);
	printf("\r\nlux is %lu \r\n", *lux);
	printf("\r\nGYRO_X = %.2f", pGyroDataXYZ[0]);
	printf("\r\nGYRO_Y = %.2f", pGyroDataXYZ[1]);
	printf("\r\nGYRO_Z = %.2f", pGyroDataXYZ[2]);
	printf("\r\n\n\n");
}

/*void convert_json(uint8_t *pDataXYZ,float *pGyroDataXYZ,float *temp_value, float *humidity_value, uint32_t *lux)
{
	setSensor("Accelerometer");
	setDataInt("x",pDataXYZ[0]);
	setDataInt("y",pDataXYZ[1]);
	setDataInt("z",pDataXYZ[2]);  //convert int
	setSensor("Magnetometer");
	setDataInt("x",pGyroDataXYZ[0]);
	setDataInt("y",pGyroDataXYZ[1]);
	setDataInt("z",pGyroDataXYZ[2]);
	setSensor("Environmental");
	setDataFloat("Humidity",*humidity_value);
	setDataFloat("Temperature",*temp_value);
	setSensor("Lux");
	setDataInt("Lux",*lux);
} */

/* USER CODE END 4 */

void Error_Handler(void)
{
  __disable_irq();
  while (1)
  {
  }
}
